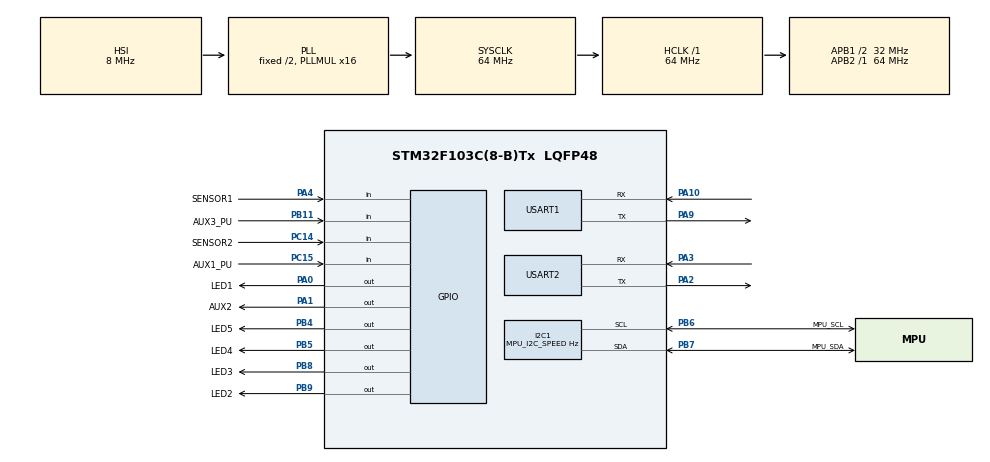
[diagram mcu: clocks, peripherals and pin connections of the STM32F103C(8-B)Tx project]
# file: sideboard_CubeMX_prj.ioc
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Mcu.Family=STM32F1
NVIC.DMA1_Channel5_IRQn=true\:0\:0\:false\:false\:true\:false\:true
NVIC.I2C1_EV_IRQn=true\:0\:0\:false\:false\:true\:true\:true
Dma.USART1_TX.3.MemInc=DMA_MINC_ENABLE
Dma.USART1_TX.3.MemDataAlignment=DMA_MDATAALIGN_BYTE
PA10.GPIO_PuPd=GPIO_PULLUP
Dma.USART2_TX.1.MemInc=DMA_MINC_ENABLE
USART1.BaudRate=USART_AUX_BAUD
Dma.USART1_RX.2.Instance=DMA1_Channel5
Dma.USART1_TX.3.Direction=DMA_MEMORY_TO_PERIPH
PA3.GPIO_PuPd=GPIO_PULLUP
PB6.GPIO_Label=MPU_SCL
PB11.Signal=GPIO_Input
PC15-OSC32_OUT.GPIO_Label=AUX1_PU
RCC.SYSCLKSource=RCC_SYSCLKSOURCE_PLLCLK
ProjectManager.StackSize=0x400
Mcu.UserConstants=MPU_I2C_SPEED,400000;USART_MAIN_BAUD,115200;USART_AUX_BAUD,115200
I2C1.ClockSpeed=MPU_I2C_SPEED
Dma.USART2_RX.0.Priority=DMA_PRIORITY_LOW
Dma.USART2_RX.0.PeriphDataAlignment=DMA_PDATAALIGN_BYTE
RCC.HCLKFreq_Value=64000000
I2C1.DutyCycle=I2C_DUTYCYCLE_16_9
RCC.APB2TimFreq_Value=64000000
PB6.Signal=I2C1_SCL
Dma.USART2_TX.1.Mode=DMA_NORMAL
Dma.USART1_TX.3.Mode=DMA_NORMAL
PB6.Mode=I2C
RCC.AHBFreq_Value=64000000
RCC.PLLMUL=RCC_PLL_MUL16
Dma.USART2_RX.0.MemDataAlignment=DMA_MDATAALIGN_BYTE
PA14.Mode=Serial_Wire
Dma.USART2_TX.1.Instance=DMA1_Channel7
Dma.USART1_TX.3.PeriphInc=DMA_PINC_DISABLE
Dma.USART2_RX.0.Instance=DMA1_Channel6
PB7.Signal=I2C1_SDA
NVIC.I2C1_ER_IRQn=true\:0\:0\:false\:false\:true\:true\:true
Dma.USART1_TX.3.Instance=DMA1_Channel4
PB7.GPIO_Label=MPU_SDA
Mcu.Package=LQFP48
PB9.Signal=GPIO_Output
Dma.USART2_RX.0.PeriphInc=DMA_PINC_DISABLE
USART2.VirtualMode=VM_ASYNC
PA10.Signal=USART1_RX
PB5.GPIO_Label=LED4
Dma.Request2=USART1_RX
Dma.Request1=USART2_TX
RCC.APB1TimFreq_Value=64000000
Dma.Request3=USART1_TX
PC14-OSC32_IN.GPIO_Label=SENSOR2
NVIC.DMA1_Channel4_IRQn=true\:0\:0\:false\:false\:true\:false\:true
NVIC.USART1_IRQn=true\:0\:0\:false\:false\:true\:true\:true
Dma.Request0=USART2_RX
PA4.GPIO_Label=SENSOR1
Dma.USART1_RX.2.MemDataAlignment=DMA_MDATAALIGN_BYTE
PB4.Signal=GPIO_Output
PA3.Signal=USART2_RX
NVIC.DMA1_Channel6_IRQn=true\:0\:0\:false\:false\:true\:false\:true
Dma.USART2_TX.1.Priority=DMA_PRIORITY_LOW
PB9.GPIO_Label=LED2
PA10.Mode=Asynchronous
PB11.GPIO_Label=AUX3_PU
Dma.USART2_RX.0.Direction=DMA_PERIPH_TO_MEMORY
RCC.APB1CLKDivider=RCC_HCLK_DIV2
PC14-OSC32_IN.Signal=GPIO_Input
Dma.USART2_TX.1.PeriphDataAlignment=DMA_PDATAALIGN_BYTE
Dma.USART1_RX.2.PeriphInc=DMA_PINC_DISABLE
NVIC.USART2_IRQn=true\:0\:0\:false\:false\:true\:true\:true
USART2.BaudRate=USART_MAIN_BAUD
PA0-WKUP.GPIO_Label=LED1
PA0-WKUP.Signal=GPIO_Output
Dma.USART2_RX.0.Mode=DMA_CIRCULAR
PA13.Signal=SYS_JTMS-SWDIO
PA3.Mode=Asynchronous
PB8.GPIO_Label=LED3
PA9.Mode=Asynchronous
ProjectManager.TargetToolchain=Other Toolchains (GPDSC)
I2C1.I2C_Mode=I2C_Fast
Dma.USART1_RX.2.Mode=DMA_CIRCULAR
Dma.USART1_RX.2.PeriphDataAlignment=DMA_PDATAALIGN_BYTE
PA9.Signal=USART1_TX
Dma.USART1_TX.3.PeriphDataAlignment=DMA_PDATAALIGN_BYTE
RCC.USBFreq_Value=64000000
PC15-OSC32_OUT.Signal=GPIO_Input
PA1.Signal=GPIO_Output
Dma.USART2_TX.1.PeriphInc=DMA_PINC_DISABLE
board=custom
Dma.USART1_RX.2.Priority=DMA_PRIORITY_LOW
Dma.USART2_TX.1.Direction=DMA_MEMORY_TO_PERIPH
RCC.APB2Freq_Value=64000000
Dma.USART1_RX.2.Direction=DMA_PERIPH_TO_MEMORY
PB4.GPIO_Label=LED5
PA1.GPIO_Label=AUX2
PA13.Mode=Serial_Wire
Mcu.Name=STM32F103C(8-B)Tx
Dma.USART2_RX.0.MemInc=DMA_MINC_ENABLE
Dma.USART1_RX.2.MemInc=DMA_MINC_ENABLE
PA2.Signal=USART2_TX
Dma.USART1_TX.3.Priority=DMA_PRIORITY_LOW
PA4.Signal=GPIO_Input
RCC.SYSCLKFreq_VALUE=64000000
PB5.Signal=GPIO_Output
USART1.VirtualMode=VM_ASYNC
PB7.Mode=I2C
PA14.Signal=SYS_JTCK-SWCLK
ProjectManager.HeapSize=0x200
NVIC.PriorityGroup=NVIC_PRIORITYGROUP_4
PA2.Mode=Asynchronous
PB8.Signal=GPIO_Output
NVIC.DMA1_Channel7_IRQn=true\:0\:0\:false\:false\:true\:false\:true
Dma.USART2_TX.1.MemDataAlignment=DMA_MDATAALIGN_BYTE
RCC.APB1Freq_Value=32000000

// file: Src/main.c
/* USER CODE BEGIN Header */
/**
  * This file is part of the hoverboard-sideboard-hack project.
  *
  * Copyright (C) 2020-2021 Emanuel FERU <aerdronix@gmail.com>
  *
  * This program is free software: you can redistribute it and/or modify
  * it under the terms of the GNU General Public License as published by
  * the Free Software Foundation, either version 3 of the License, or
  * (at your option) any later version.
  *
  * This program is distributed in the hope that it will be useful,
  * but WITHOUT ANY WARRANTY; without even the implied warranty of
  * MERCHANTABILITY or FITNESS FOR A PARTICULAR PURPOSE.  See the
  * GNU General Public License for more details.
  *
  * You should have received a copy of the GNU General Public License
  * along with this program.  If not, see <http://www.gnu.org/licenses/>.
*/
/* USER CODE END Header */
#include "main.h"
#include "dma.h"
#include "i2c.h"
#include "usart.h"
#include "gpio.h"

/* USER CODE BEGIN Includes */
#include <stdio.h>
#include <string.h>
#include "defines.h"
#include "config.h"
#include "util.h"
#include "mpu6050.h"
#include "mpu6050_dmp.h"
/* USER CODE END Includes */

void SystemClock_Config(void);

/* USER CODE BEGIN 0 */

uint32_t     main_loop_counter;                       // main loop counter to perform task scheduling inside main()

/* USER CODE END 0 */

int main(void)
{

  /* MCU Configuration--------------------------------------------------------*/

  /* Reset of all peripherals, Initializes the Flash interface and the Systick. */
  HAL_Init();

  /* Configure the system clock */
  SystemClock_Config();

  /* Initialize all configured peripherals */
  MX_GPIO_Init();
  MX_DMA_Init();
  MX_USART2_UART_Init();
  MX_I2C1_Init();
  MX_USART1_UART_Init();
  /* USER CODE BEGIN 2 */
  input_init();                                     // Input initialization
  /* USER CODE END 2 */

  /* Infinite loop */
  /* USER CODE BEGIN WHILE */
  while (1)
  {

    HAL_Delay(DELAY_IN_MAIN_LOOP);

    handle_mpu6050();                               // Handle of the MPU-6050 IMU sensor
    handle_sensors();                               // Handle of the optical sensors
    handle_usart();                                 // Handle of the USART data
    handle_leds();                                  // Handle of the sideboard LEDs

    main_loop_counter++;

    /* USER CODE END WHILE */

  }
}

void SystemClock_Config(void)
{
  RCC_OscInitTypeDef RCC_OscInitStruct = {0};
  RCC_ClkInitTypeDef RCC_ClkInitStruct = {0};

  /** Initializes the RCC Oscillators according to the specified parameters
  * in the RCC_OscInitTypeDef structure.
  */
  RCC_OscInitStruct.OscillatorType = RCC_OSCILLATORTYPE_HSI;
  RCC_OscInitStruct.HSIState = RCC_HSI_ON;
  RCC_OscInitStruct.HSICalibrationValue = RCC_HSICALIBRATION_DEFAULT;
  RCC_OscInitStruct.PLL.PLLState = RCC_PLL_ON;
  RCC_OscInitStruct.PLL.PLLSource = RCC_PLLSOURCE_HSI_DIV2;
  RCC_OscInitStruct.PLL.PLLMUL = RCC_PLL_MUL16;
  if (HAL_RCC_OscConfig(&RCC_OscInitStruct) != HAL_OK)
  {
    Error_Handler();
  }
  /** Initializes the CPU, AHB and APB buses clocks
  */
  RCC_ClkInitStruct.ClockType = RCC_CLOCKTYPE_HCLK|RCC_CLOCKTYPE_SYSCLK
                              |RCC_CLOCKTYPE_PCLK1|RCC_CLOCKTYPE_PCLK2;
  RCC_ClkInitStruct.SYSCLKSource = RCC_SYSCLKSOURCE_PLLCLK;
  RCC_ClkInitStruct.AHBCLKDivider = RCC_SYSCLK_DIV1;
  RCC_ClkInitStruct.APB1CLKDivider = RCC_HCLK_DIV2;
  RCC_ClkInitStruct.APB2CLKDivider = RCC_HCLK_DIV1;

  if (HAL_RCC_ClockConfig(&RCC_ClkInitStruct, FLASH_LATENCY_2) != HAL_OK)
  {
    Error_Handler();
  }
}

void Error_Handler(void)
{
}

/************************ (C) COPYRIGHT STMicroelectronics *****END OF FILE****/
